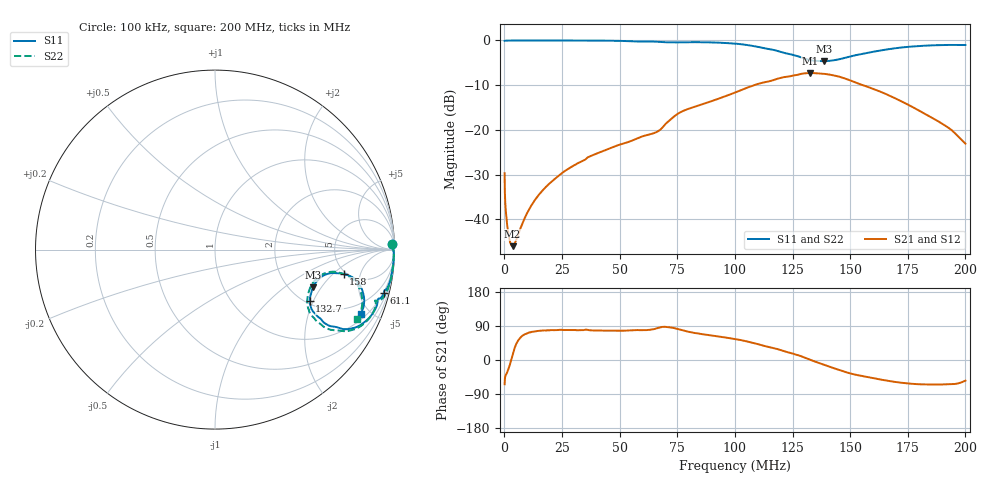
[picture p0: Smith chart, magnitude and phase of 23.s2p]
#  HZ  S  RI  R  50.00
! Rohde & Schwarz Vector Network Analyzer
! Rohde-Schwarz,ZNLE6-2Port,1323001256200024,1.71.1.10-23.02.1.238
! Created: UTC 4/7/2025, 6:46:53 AM
! freq[Hz]  re:S11  im:S11  re:S21  im:S21  re:S12  im:S12  re:S22  im:S22
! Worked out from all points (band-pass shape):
!   1001 points, 100 kHz to 200 MHz, reference 50 ohm
!   highest |S21| = -7.29 dB at 132.7 MHz (marker M1); lowest = -46.0 dB at 3.533 MHz (marker M2)
!   |S21| within 3 dB of the highest: 107 MHz to 157 MHz (50.05 MHz wide, 37.9 % of centre)
!   lowest |S11| = -4.7 dB at 138.9 MHz (marker M3), VSWR 3.82, Z = 131 - j84 ohm
!   |S11| at or under -10 dB: nowhere
!   |S22| runs from -4.9 to 0.0 dB; largest |S21 - S12| = 0.01
!   S11 on the Smith chart (normalised r, x): 100 kHz: 26, +56; 61.1 MHz: 0.92, -7.84; 132.7 MHz: 2.09, -1.88; 158 MHz: 4.75, -2.73; 200 MHz: 1.29, -4.36
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100000  0.9859 0.029  0.0143 -0.0294  0.0144 -0.0295  0.9859 0.0291
355854.1  0.9885 0.0101  0.0115 -0.0111  0.0115 -0.0111  0.9887 0.0101
1266322  0.9929 0.00126  0.00713 -0.00442  0.00714 -0.00444  0.9929 0.00102
2397897  0.9945 -0.00483  0.00555 -0.00119  0.00556 -0.00119  0.9943 -0.00493
3533321  0.995 -0.0099  0.00488 0.00117  0.00488 0.00113  0.9956 -0.0104
4472136  0.9954 -0.0142  0.00453 0.00284  0.00456 0.00278  0.9961 -0.0137
6343988  0.9956 -0.0219  0.00416 0.00585  0.00421 0.00581  0.9961 -0.022
1.591428e7  0.9945 -0.0599  0.00443 0.0196  0.00464 0.0195  0.9949 -0.0616
3.616581e7  0.9833 -0.1409  0.00919 0.0484  0.0105 0.048  0.9836 -0.1428
5.663162e7  0.9448 -0.2278  0.0151 0.0767  0.0173 0.0758  0.9551 -0.2376
6.110395e7  0.9411 -0.2405  0.0168 0.0847  0.0177 0.0843  0.9416 -0.261
6.643251e7  0.9262 -0.2673  0.00981 0.0952  0.0143 0.095  0.9153 -0.2844
7.502347e7  0.9056 -0.2818  0.0208 0.1485  0.0257 0.1477  0.8925 -0.2852
9.072414e7  0.8742 -0.3621  0.0936 0.1912  0.0998 0.189  0.8687 -0.3698
1.064252e8  0.7594 -0.4392  0.2053 0.2219  0.2112 0.2181  0.7588 -0.449
1.20188e8  0.6147 -0.4123  0.3444 0.1659  0.3475 0.1599  0.6147 -0.4355
1.326705e8  0.5276 -0.2877  0.4322 0.00497  0.4303 -0.00155  0.5139 -0.3022
1.388611e8  0.5458 -0.2106  0.4111 -0.0944  0.4072 -0.1006  0.5306 -0.2121
1.475668e8  0.6207 -0.1373  0.3221 -0.1937  0.3157 -0.1983  0.6174 -0.1302
1.580149e8  0.7163 -0.1349  0.209 -0.2148  0.2012 -0.2188  0.7252 -0.1398
1.784492e8  0.8245 -0.2392  0.0768 -0.154  0.0707 -0.1567  0.8178 -0.2601
2e8  0.8109 -0.3598  0.0408 -0.057  0.0391 -0.0591  0.7931 -0.3863
